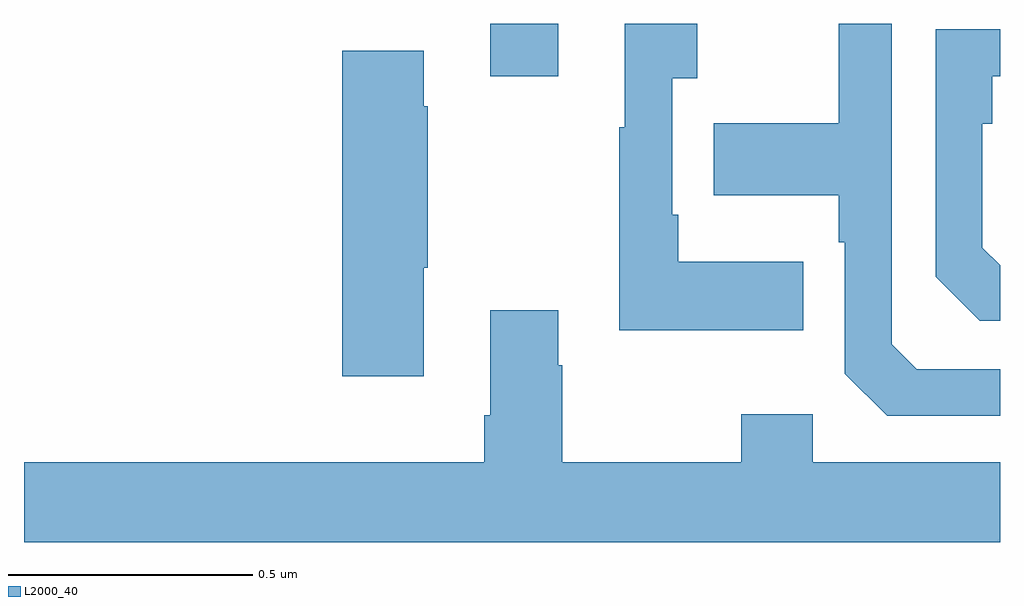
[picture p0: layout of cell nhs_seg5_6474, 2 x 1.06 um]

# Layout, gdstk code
import gdstk
lib = gdstk.Library(unit=1e-6, precision=1e-09)
def R(c, l, rs):  # rectangles x0, y0, x1, y1
    for r in rs: c.add(gdstk.rectangle(r[:2], r[2:], *l))
def P(c, l, *ps):  # polygons
    for p in ps: c.add(gdstk.Polygon(p, *l))
L2000_40 = (2000, 40)

nhs_seg5_6474 = lib.new_cell('nhs_seg5_6474')
R(nhs_seg5_6474, L2000_40, [(196.955,881.691,197.095,881.799)])
P(nhs_seg5_6474, L2000_40, [(198,881.091),(197.829,881.091),(197.778,881.142),(197.778,881.799),(197.67,881.799),(197.67,881.595),(197.413,881.595),(197.413,881.447),(197.67,881.447),(197.67,881.351),(197.682,881.351),(197.682,881.082),(197.769,880.995),(198,880.995)],
  [(197.597,881.311),(197.341,881.311),(197.341,881.407),(197.328,881.407),(197.328,881.687),(197.38,881.687),(197.38,881.799),(197.231,881.799),(197.231,881.587),(197.22,881.587),(197.22,881.171),(197.597,881.171)],
  [(198,881.304),(197.964,881.34),(197.964,881.594),(197.984,881.594),(197.984,881.691),(198,881.691),(198,881.787),(197.868,881.787),(197.868,881.28),(197.958,881.19),(198,881.19)],
  [(196.819,881.299),(196.827,881.299),(196.827,881.63),(196.819,881.63),(196.819,881.743),(196.652,881.743),(196.652,881.076),(196.819,881.076)],
  [(198,880.9),(197.616,880.9),(197.616,880.999),(197.47,880.999),(197.47,880.9),(197.103,880.9),(197.103,881.099),(197.095,881.099),(197.095,881.212),(196.955,881.212),(196.955,880.996),(196.943,880.996),(196.943,880.9),(196,880.9),(196,880.736),(198,880.736)])

lib.write_gds('nhs_seg5_6474.gds')
